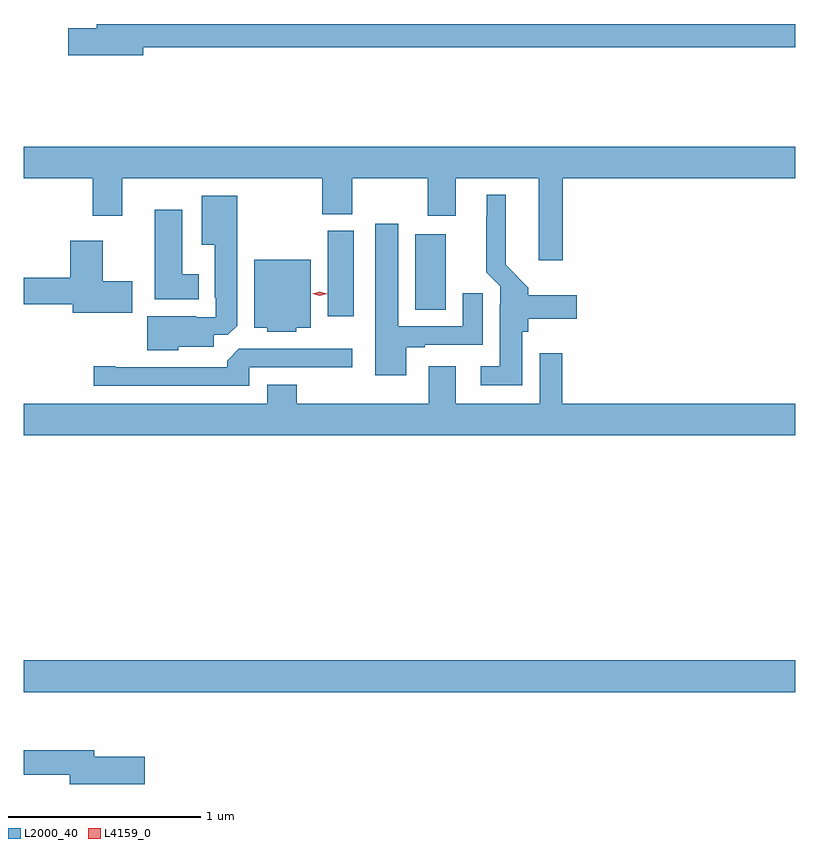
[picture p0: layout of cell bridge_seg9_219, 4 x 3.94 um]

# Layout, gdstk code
import gdstk
lib = gdstk.Library(unit=1e-6, precision=1e-09)
def R(c, l, rs):  # rectangles x0, y0, x1, y1
    for r in rs: c.add(gdstk.rectangle(r[:2], r[2:], *l))
def P(c, l, *ps):  # polygons
    for p in ps: c.add(gdstk.Polygon(p, *l))
L2000_40 = (2000, 40)
L4159_0 = (4159, 0)

bridge_seg9_219 = lib.new_cell('bridge_seg9_219')
R(bridge_seg9_219, L2000_40, [(190.414,1217.732,194.414,1217.896), (191.99,1219.68,192.124,1220.124), (192.443,1219.714,192.601,1220.107)])
P(bridge_seg9_219, L2000_40, [(191.032,1221.076),(194.414,1221.076),(194.414,1221.197),(190.793,1221.197),(190.793,1221.176),(190.644,1221.176),(190.644,1221.034),(191.032,1221.034)],
  [(190.414,1220.396),(190.772,1220.396),(190.772,1220.202),(190.924,1220.202),(190.924,1220.396),(191.962,1220.396),(191.962,1220.209),(192.117,1220.209),(192.117,1220.396),(192.508,1220.396),(192.508,1220.202),(192.655,1220.202),(192.655,1220.396),(193.085,1220.396),(193.085,1219.971),(193.208,1219.971),(193.208,1220.396),(194.414,1220.396),(194.414,1220.56),(190.414,1220.56)],
  [(193,1219.602),(193.031,1219.602),(193.031,1219.667),(193.282,1219.667),(193.282,1219.789),(193.031,1219.789),(193.031,1219.83),(192.913,1219.948),(192.913,1220.311),(192.815,1220.311),(192.815,1220.201),(192.812,1220.201),(192.812,1219.909),(192.885,1219.836),(192.885,1219.742),(192.881,1219.742),(192.881,1219.423),(192.783,1219.423),(192.783,1219.322),(193,1219.322)],
  [(191.214,1219.523),(191.398,1219.523),(191.398,1219.584),(191.472,1219.584),(191.521,1219.633),(191.521,1220.305),(191.336,1220.305),(191.336,1220.051),(191.405,1220.051),(191.405,1219.777),(191.409,1219.777),(191.409,1219.677),(191.309,1219.677),(191.309,1219.681),(191.054,1219.681),(191.054,1219.505),(191.214,1219.505)],
  [(191.32,1219.9),(191.236,1219.9),(191.236,1220.233),(191.093,1220.233),(191.093,1219.769),(191.32,1219.769)],
  [(192.397,1219.521),(192.493,1219.521),(192.493,1219.533),(192.793,1219.533),(192.793,1219.801),(192.689,1219.801),(192.689,1219.629),(192.355,1219.629),(192.355,1220.161),(192.236,1220.161),(192.236,1219.374),(192.397,1219.374)],
  [(190.975,1219.863),(190.822,1219.863),(190.822,1220.074),(190.655,1220.074),(190.655,1219.88),(190.414,1219.88),(190.414,1219.744),(190.667,1219.744),(190.667,1219.7),(190.975,1219.7)],
  [(191.826,1219.622),(191.902,1219.622),(191.902,1219.975),(191.609,1219.975),(191.609,1219.622),(191.676,1219.622),(191.676,1219.601),(191.826,1219.601)],
  [(191.583,1219.416),(192.118,1219.416),(192.118,1219.512),(191.529,1219.512),(191.468,1219.45),(191.468,1219.416),(190.888,1219.416),(190.888,1219.421),(190.776,1219.421),(190.776,1219.32),(191.583,1219.32)],
  [(194.414,1219.228),(193.205,1219.228),(193.205,1219.489),(193.089,1219.489),(193.089,1219.228),(192.655,1219.228),(192.655,1219.423),(192.515,1219.423),(192.515,1219.228),(191.828,1219.228),(191.828,1219.327),(191.675,1219.327),(191.675,1219.228),(190.414,1219.228),(190.414,1219.064),(194.414,1219.064)],
  [(191.041,1217.397),(190.78,1217.397),(190.78,1217.431),(190.414,1217.431),(190.414,1217.302),(190.652,1217.302),(190.652,1217.255),(191.041,1217.255)])
P(bridge_seg9_219, L4159_0, [(191.948,1219.787),(191.909,1219.797),(191.909,1219.797),(191.909,1219.797),(191.948,1219.807),(191.988,1219.797),(191.988,1219.797),(191.988,1219.797)])

lib.write_gds('bridge_seg9_219.gds')
